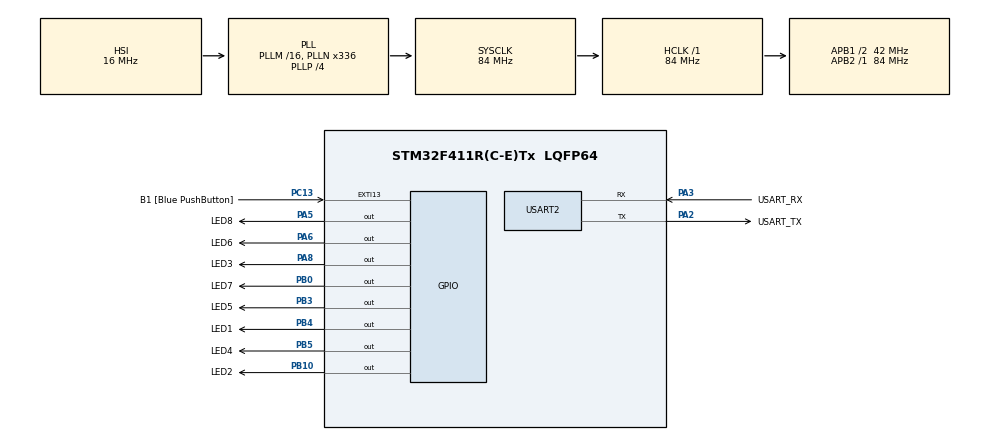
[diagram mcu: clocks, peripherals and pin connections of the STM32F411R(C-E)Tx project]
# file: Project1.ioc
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Mcu.Family=STM32F4
Mcu.Name=STM32F411R(C-E)Tx
Mcu.Package=LQFP64
NVIC.PriorityGroup=NVIC_PRIORITYGROUP_0
PA13.GPIO_Label=TMS
PA13.Mode=Serial_Wire
PA13.Signal=SYS_JTMS-SWDIO
PA14.GPIO_Label=TCK
PA14.Mode=Serial_Wire
PA14.Signal=SYS_JTCK-SWCLK
PA2.GPIO_Label=USART_TX
PA2.Mode=Asynchronous
PA2.Signal=USART2_TX
PA3.GPIO_Label=USART_RX
PA3.Mode=Asynchronous
PA3.Signal=USART2_RX
PA5.GPIO_Label=LED8
PA5.Signal=GPIO_Output
PA6.GPIO_Label=LED6
PA6.Signal=GPIO_Output
PA8.GPIO_Label=LED3
PA8.Signal=GPIO_Output
PB0.GPIO_Label=LED7
PB0.Signal=GPIO_Output
PB10.GPIO_Label=LED2
PB10.Signal=GPIO_Output
PB3.GPIO_Label=LED5
PB3.Signal=GPIO_Output
PB4.GPIO_Label=LED1
PB4.Signal=GPIO_Output
PB5.GPIO_Label=LED4
PB5.Signal=GPIO_Output
PC13-ANTI_TAMP.GPIO_Label=B1 [Blue PushButton]
PC13-ANTI_TAMP.GPIO_ModeDefaultEXTI=GPIO_MODE_IT_FALLING
PC13-ANTI_TAMP.Signal=GPXTI13
PC14-OSC32_IN.Mode=LSE-External-Oscillator
PC14-OSC32_IN.Signal=RCC_OSC32_IN
PC15-OSC32_OUT.Mode=LSE-External-Oscillator
PC15-OSC32_OUT.Signal=RCC_OSC32_OUT
PH0\ -\ OSC_IN.Mode=HSE-External-Clock-Source
PH0\ -\ OSC_IN.Signal=RCC_OSC_IN
PH1\ -\ OSC_OUT.Mode=HSE-External-Clock-Source
PH1\ -\ OSC_OUT.Signal=RCC_OSC_OUT
ProjectManager.HeapSize=0x200
ProjectManager.StackSize=0x400
ProjectManager.TargetToolchain=CMake
RCC.48MHZClocksFreq_Value=84000000
RCC.AHBFreq_Value=84000000
RCC.APB1CLKDivider=RCC_HCLK_DIV2
RCC.APB1Freq_Value=42000000
RCC.APB1TimFreq_Value=84000000
RCC.APB2Freq_Value=84000000
RCC.APB2TimFreq_Value=84000000
RCC.CortexFreq_Value=84000000
RCC.FLatency-AdvancedSettings=FLASH_LATENCY_2
RCC.HCLKFreq_Value=84000000
RCC.HSE_VALUE=8000000
RCC.HSI_VALUE=16000000
RCC.PLLN=336
RCC.PLLP=RCC_PLLP_DIV4
RCC.SYSCLKFreq_VALUE=84000000
RCC.SYSCLKSource=RCC_SYSCLKSOURCE_PLLCLK
RCC.VCOOutputFreq_Value=336000000
USART2.VirtualMode=VM_ASYNC
board=NUCLEO-F411RE

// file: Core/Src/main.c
/* USER CODE BEGIN Header */
/**
  ******************************************************************************
  * @file           : main.c
  * @brief          : Main program body
  ******************************************************************************
  * @attention
  *
  * Copyright (c) 2026 STMicroelectronics.
  * All rights reserved.
  *
  * This software is licensed under terms that can be found in the LICENSE file
  * in the root directory of this software component.
  * If no LICENSE file comes with this software, it is provided AS-IS.
  *
  ******************************************************************************
  */
/* USER CODE END Header */
#include "main.h"

UART_HandleTypeDef huart2;

void SystemClock_Config(void);
static void MX_GPIO_Init(void);
static void MX_USART2_UART_Init(void);

int main(void)
{

  /* MCU Configuration--------------------------------------------------------*/

  /* Reset of all peripherals, Initializes the Flash interface and the Systick. */
  HAL_Init();

  /* Configure the system clock */
  SystemClock_Config();

  /* Initialize all configured peripherals */
  MX_GPIO_Init();
  MX_USART2_UART_Init();

  /* Infinite loop */
  /* USER CODE BEGIN WHILE */
  while (1)
  {
  HAL_GPIO_WritePin(LED1_GPIO_Port, LED1_Pin, GPIO_PIN_SET);
  {int ct  ;
    for( ct = 0; ct  < 1000000; ct++ );
  }
  HAL_GPIO_WritePin(LED1_GPIO_Port, LED1_Pin, GPIO_PIN_RESET);
  // {int ct  ;
  //   for( ct = 0; ct  < 1000000; ct++ );
  // }
  HAL_GPIO_WritePin(LED2_GPIO_Port, LED2_Pin, GPIO_PIN_SET);
  {int ct  ;
    for( ct = 0; ct  < 1000000; ct++ );
  }
  HAL_GPIO_WritePin(LED2_GPIO_Port, LED2_Pin, GPIO_PIN_RESET);
  // {int ct  ;
  //   for( ct = 0; ct  < 1000000; ct++ );
  // }
  HAL_GPIO_WritePin(LED3_GPIO_Port, LED3_Pin, GPIO_PIN_SET);
  {int ct  ;
    for( ct = 0; ct  < 1000000; ct++ );
  }
  HAL_GPIO_WritePin(LED3_GPIO_Port, LED3_Pin, GPIO_PIN_RESET);
  // {int ct  ;
  //   for( ct = 0; ct  < 1000000; ct++ );
  // }
  HAL_GPIO_WritePin(LED4_GPIO_Port, LED4_Pin, GPIO_PIN_SET);
  {int ct  ;
    for( ct = 0; ct  < 1000000; ct++ );
  }
  HAL_GPIO_WritePin(LED4_GPIO_Port, LED4_Pin, GPIO_PIN_RESET);
  // {int ct  ;
  //   for( ct = 0; ct  < 1000000; ct++ );
  // }
  HAL_GPIO_WritePin(LED5_GPIO_Port, LED5_Pin, GPIO_PIN_SET);
  {int ct  ;
    for( ct = 0; ct  < 1000000; ct++ );
  }
  HAL_GPIO_WritePin(LED5_GPIO_Port, LED5_Pin, GPIO_PIN_RESET);
  // {int ct  ;
  //   for( ct = 0; ct  < 1000000; ct++ );
  // }
  HAL_GPIO_WritePin(LED6_GPIO_Port, LED6_Pin, GPIO_PIN_SET);
  {int ct  ;
    for( ct = 0; ct  < 1000000; ct++ );
  }
  HAL_GPIO_WritePin(LED6_GPIO_Port, LED6_Pin, GPIO_PIN_RESET);
  // {int ct  ;
  //   for( ct = 0; ct  < 1000000; ct++ );
  // }
  HAL_GPIO_WritePin(LED7_GPIO_Port, LED7_Pin, GPIO_PIN_SET);
  {int ct  ;
    for( ct = 0; ct  < 1000000; ct++ );
  }
  HAL_GPIO_WritePin(LED7_GPIO_Port, LED7_Pin, GPIO_PIN_RESET);
  // {int ct  ;
  //   for( ct = 0; ct  < 1000000; ct++ );
  // }
  HAL_GPIO_WritePin(LED8_GPIO_Port, LED8_Pin, GPIO_PIN_SET);
  {int ct  ;
    for( ct = 0; ct  < 1000000; ct++ );
  }
  HAL_GPIO_WritePin(LED8_GPIO_Port, LED8_Pin, GPIO_PIN_RESET);
  // {int ct  ;
  //   for( ct = 0; ct  < 1000000; ct++ );
  // }
    /* USER CODE END WHILE */

  }
}

void SystemClock_Config(void)
{
  RCC_OscInitTypeDef RCC_OscInitStruct = {0};
  RCC_ClkInitTypeDef RCC_ClkInitStruct = {0};

  /** Configure the main internal regulator output voltage
  */
  __HAL_RCC_PWR_CLK_ENABLE();
  __HAL_PWR_VOLTAGESCALING_CONFIG(PWR_REGULATOR_VOLTAGE_SCALE1);

  /** Initializes the RCC Oscillators according to the specified parameters
  * in the RCC_OscInitTypeDef structure.
  */
  RCC_OscInitStruct.OscillatorType = RCC_OSCILLATORTYPE_HSI;
  RCC_OscInitStruct.HSIState = RCC_HSI_ON;
  RCC_OscInitStruct.HSICalibrationValue = RCC_HSICALIBRATION_DEFAULT;
  RCC_OscInitStruct.PLL.PLLState = RCC_PLL_ON;
  RCC_OscInitStruct.PLL.PLLSource = RCC_PLLSOURCE_HSI;
  RCC_OscInitStruct.PLL.PLLM = 16;
  RCC_OscInitStruct.PLL.PLLN = 336;
  RCC_OscInitStruct.PLL.PLLP = RCC_PLLP_DIV4;
  RCC_OscInitStruct.PLL.PLLQ = 4;
  if (HAL_RCC_OscConfig(&RCC_OscInitStruct) != HAL_OK)
  {
    Error_Handler();
  }

  /** Initializes the CPU, AHB and APB buses clocks
  */
  RCC_ClkInitStruct.ClockType = RCC_CLOCKTYPE_HCLK|RCC_CLOCKTYPE_SYSCLK
                              |RCC_CLOCKTYPE_PCLK1|RCC_CLOCKTYPE_PCLK2;
  RCC_ClkInitStruct.SYSCLKSource = RCC_SYSCLKSOURCE_PLLCLK;
  RCC_ClkInitStruct.AHBCLKDivider = RCC_SYSCLK_DIV1;
  RCC_ClkInitStruct.APB1CLKDivider = RCC_HCLK_DIV2;
  RCC_ClkInitStruct.APB2CLKDivider = RCC_HCLK_DIV1;

  if (HAL_RCC_ClockConfig(&RCC_ClkInitStruct, FLASH_LATENCY_2) != HAL_OK)
  {
    Error_Handler();
  }
}

static void MX_USART2_UART_Init(void)
{

  huart2.Instance = USART2;
  huart2.Init.BaudRate = 115200;
  huart2.Init.WordLength = UART_WORDLENGTH_8B;
  huart2.Init.StopBits = UART_STOPBITS_1;
  huart2.Init.Parity = UART_PARITY_NONE;
  huart2.Init.Mode = UART_MODE_TX_RX;
  huart2.Init.HwFlowCtl = UART_HWCONTROL_NONE;
  huart2.Init.OverSampling = UART_OVERSAMPLING_16;
  if (HAL_UART_Init(&huart2) != HAL_OK)
  {
    Error_Handler();
  }

}

static void MX_GPIO_Init(void)
{
  GPIO_InitTypeDef GPIO_InitStruct = {0};

  /* GPIO Ports Clock Enable */
  __HAL_RCC_GPIOC_CLK_ENABLE();
  __HAL_RCC_GPIOH_CLK_ENABLE();
  __HAL_RCC_GPIOA_CLK_ENABLE();
  __HAL_RCC_GPIOB_CLK_ENABLE();

  /*Configure GPIO pin Output Level */
  HAL_GPIO_WritePin(GPIOA, LED8_Pin|LED6_Pin|LED3_Pin, GPIO_PIN_RESET);

  /*Configure GPIO pin Output Level */
  HAL_GPIO_WritePin(GPIOB, LED7_Pin|LED2_Pin|LED5_Pin|LED1_Pin
                          |LED4_Pin, GPIO_PIN_RESET);

  /*Configure GPIO pin : B1_Pin */
  GPIO_InitStruct.Pin = B1_Pin;
  GPIO_InitStruct.Mode = GPIO_MODE_IT_FALLING;
  GPIO_InitStruct.Pull = GPIO_NOPULL;
  HAL_GPIO_Init(B1_GPIO_Port, &GPIO_InitStruct);

  /*Configure GPIO pins : LED8_Pin LED6_Pin LED3_Pin */
  GPIO_InitStruct.Pin = LED8_Pin|LED6_Pin|LED3_Pin;
  GPIO_InitStruct.Mode = GPIO_MODE_OUTPUT_PP;
  GPIO_InitStruct.Pull = GPIO_NOPULL;
  GPIO_InitStruct.Speed = GPIO_SPEED_FREQ_LOW;
  HAL_GPIO_Init(GPIOA, &GPIO_InitStruct);

  /*Configure GPIO pins : LED7_Pin LED2_Pin LED5_Pin LED1_Pin
                           LED4_Pin */
  GPIO_InitStruct.Pin = LED7_Pin|LED2_Pin|LED5_Pin|LED1_Pin
                          |LED4_Pin;
  GPIO_InitStruct.Mode = GPIO_MODE_OUTPUT_PP;
  GPIO_InitStruct.Pull = GPIO_NOPULL;
  GPIO_InitStruct.Speed = GPIO_SPEED_FREQ_LOW;
  HAL_GPIO_Init(GPIOB, &GPIO_InitStruct);

}

void Error_Handler(void)
{
  __disable_irq();
  while (1)
  {
  }
}
